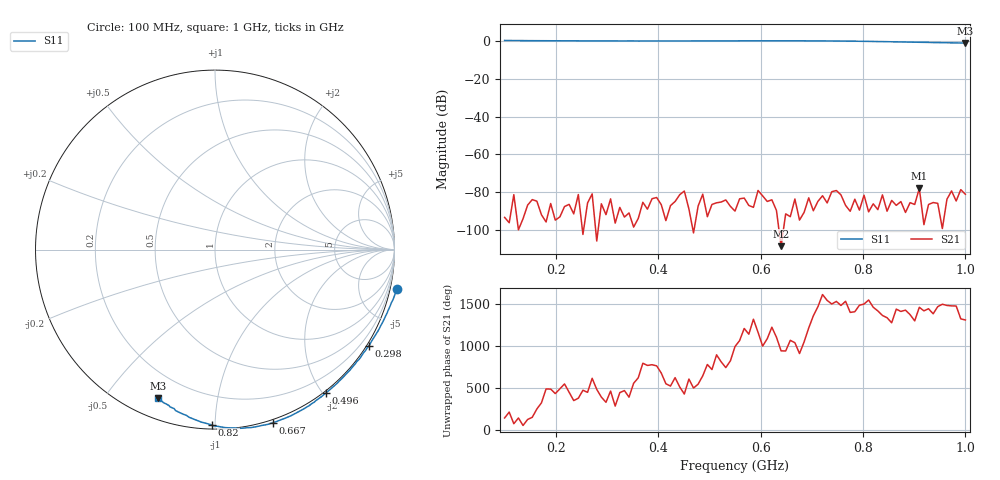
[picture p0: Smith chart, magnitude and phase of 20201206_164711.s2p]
# HZ S RI R 50
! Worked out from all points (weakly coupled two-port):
!   101 points, 100 MHz to 1 GHz, reference 50 ohm
!   highest |S21| = -77.99 dB at 910 MHz (marker M1); lowest = -108.5 dB at 640 MHz (marker M2)
!   lowest |S11| = -1.1 dB at 1 GHz (marker M3), VSWR 16.43, Z = 4.48 - j34.2 ohm
!   |S11| at or under -10 dB: nowhere
!   S12 and S22 are empty: the file has one direction only
!   S11 on the Smith chart (normalised r, x): 100 MHz: -1.64, -9.07; 298 MHz: -0.07, -3.48; 496 MHz: -0.02, -2.04; 667 MHz: -0.02, -1.39; 820 MHz: 0.02, -0.98; 1 GHz: 0.09, -0.68
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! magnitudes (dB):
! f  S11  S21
! 100 MHz  0.3  -93.3
! 253 MHz  0.1  -102.3
! 298 MHz  0.1  -91.9
! 406 MHz  0.1  -86.6
! 496 MHz  0.1  -92.9
! 550 MHz  0.1  -90.0
! 586 MHz  0.1  -88.0
! 595 MHz  0.1  -79.1
! 604 MHz  0.1  -81.9
! 640 MHz  0.1  -108.5
! 667 MHz  0.1  -83.6
! 703 MHz  0.1  -89.8
! 748 MHz  0.0  -79.1
! 757 MHz  0.0  -81.4
! 820 MHz  -0.2  -86.1
! 856 MHz  -0.4  -84.3
! 901 MHz  -0.6  -86.5
! 910 MHz  -0.6  -78.0
! 919 MHz  -0.7  -97.2
! 982 MHz  -1.0  -84.6
! 991 MHz  -1.0  -78.6
! 1 GHz  -1.1  -81.1
